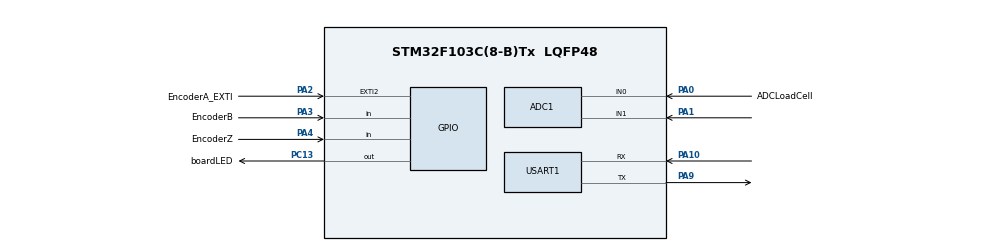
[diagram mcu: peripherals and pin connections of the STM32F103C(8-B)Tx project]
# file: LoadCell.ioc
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ADC1.Channel-0\#ChannelRegularConversion=ADC_CHANNEL_0
ADC1.NbrOfConversionFlag=1
ADC1.Rank-0\#ChannelRegularConversion=1
ADC1.SamplingTime-0\#ChannelRegularConversion=ADC_SAMPLETIME_1CYCLE_5
ADC1.master=1
Mcu.Family=STM32F1
Mcu.Name=STM32F103C(8-B)Tx
Mcu.Package=LQFP48
NVIC.EXTI2_IRQn=true\:0\:0\:false\:true\:true\:2\:true
NVIC.PriorityGroup=NVIC_PRIORITYGROUP_4
NVIC.TIM2_IRQn=true\:0\:0\:false\:true\:true\:3\:true
NVIC.USART1_IRQn=true\:0\:0\:false\:true\:true\:1\:true
PA0-WKUP.GPIO_Label=ADCLoadCell
PA0-WKUP.Signal=ADCx_IN0
PA1.Signal=ADCx_IN1
PA10.Mode=Asynchronous
PA10.Signal=USART1_RX
PA2.GPIO_Label=EncoderA_EXTI
PA2.Signal=GPXTI2
PA3.GPIO_Label=EncoderB
PA3.Signal=GPIO_Input
PA4.GPIO_Label=EncoderZ
PA4.Signal=GPIO_Input
PA9.Mode=Asynchronous
PA9.Signal=USART1_TX
PC13-TAMPER-RTC.GPIO_Label=boardLED
PC13-TAMPER-RTC.Signal=GPIO_Output
ProjectManager.HeapSize=0x200
ProjectManager.StackSize=0x400
ProjectManager.TargetToolchain=MDK-ARM V5
RCC.APB1Freq_Value=8000000
RCC.APB2Freq_Value=8000000
SH.ADCx_IN0.0=ADC1_IN0,IN0
SH.ADCx_IN1.0=ADC1_IN1,IN1
TIM2.Period=500
TIM2.Prescaler=8000
USART1.VirtualMode=VM_ASYNC
VP_SYS_VS_ND.Mode=No_Debug
VP_TIM2_VS_ClockSourceINT.Mode=Internal
board=custom

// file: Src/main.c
/**
  ******************************************************************************
  * @file           : main.c
  * @brief          : Main program body
  ******************************************************************************
  ** This notice applies to any and all portions of this file
  * that are not between comment pairs USER CODE BEGIN and
  * USER CODE END. Other portions of this file, whether
  * inserted by the user or by software development tools
  * are owned by their respective copyright owners.
  *
  * COPYRIGHT(c) 2018 STMicroelectronics
  *
  * Redistribution and use in source and binary forms, with or without modification,
  * are permitted provided that the following conditions are met:
  *   1. Redistributions of source code must retain the above copyright notice,
  *      this list of conditions and the following disclaimer.
  *   2. Redistributions in binary form must reproduce the above copyright notice,
  *      this list of conditions and the following disclaimer in the documentation
  *      and/or other materials provided with the distribution.
  *   3. Neither the name of STMicroelectronics nor the names of its contributors
  *      may be used to endorse or promote products derived from this software
  *      without specific prior written permission.
  *
  * THIS SOFTWARE IS PROVIDED BY THE COPYRIGHT HOLDERS AND CONTRIBUTORS "AS IS"
  * AND ANY EXPRESS OR IMPLIED WARRANTIES, INCLUDING, BUT NOT LIMITED TO, THE
  * IMPLIED WARRANTIES OF MERCHANTABILITY AND FITNESS FOR A PARTICULAR PURPOSE ARE
  * DISCLAIMED. IN NO EVENT SHALL THE COPYRIGHT HOLDER OR CONTRIBUTORS BE LIABLE
  * FOR ANY DIRECT, INDIRECT, INCIDENTAL, SPECIAL, EXEMPLARY, OR CONSEQUENTIAL
  * DAMAGES (INCLUDING, BUT NOT LIMITED TO, PROCUREMENT OF SUBSTITUTE GOODS OR
  * SERVICES; LOSS OF USE, DATA, OR PROFITS; OR BUSINESS INTERRUPTION) HOWEVER
  * CAUSED AND ON ANY THEORY OF LIABILITY, WHETHER IN CONTRACT, STRICT LIABILITY,
  * OR TORT (INCLUDING NEGLIGENCE OR OTHERWISE) ARISING IN ANY WAY OUT OF THE USE
  * OF THIS SOFTWARE, EVEN IF ADVISED OF THE POSSIBILITY OF SUCH DAMAGE.
  *
  ******************************************************************************
  */
#include "main.h"
#include "stm32f1xx_hal.h"

/* USER CODE BEGIN Includes */
#include "stdio.h"
#include "string.h"
/* USER CODE END Includes */

ADC_HandleTypeDef hadc1;

TIM_HandleTypeDef htim2;

UART_HandleTypeDef huart1;

/* USER CODE BEGIN PV */
/* Private variables ---------------------------------------------------------*/
char aTxBuffer[1024];
char aRxBuffer[1024];
int	cnt = 0;
int Uart1_Rx = 0;
int Uart1_Tx = 0;
uint8_t Uart1_Len = 0; //
uint8_t Uart1_Flag = 0; //

/* USER CODE END PV */

void SystemClock_Config(void);
static void MX_GPIO_Init(void);
static void MX_USART1_UART_Init(void);
static void MX_ADC1_Init(void);
static void MX_TIM2_Init(void);
static void MX_NVIC_Init(void);

/* USER CODE BEGIN PFP */
/* Private function prototypes -----------------------------------------------*/

/* USER CODE END PFP */

int main(void)
{

  /* MCU Configuration----------------------------------------------------------*/

  /* Reset of all peripherals, Initializes the Flash interface and the Systick. */
  HAL_Init();

  /* Configure the system clock */
  SystemClock_Config();

  /* Initialize all configured peripherals */
  MX_GPIO_Init();
  MX_USART1_UART_Init();
  MX_ADC1_Init();
  MX_TIM2_Init();

  /* Initialize interrupts */
  MX_NVIC_Init();
  /* USER CODE BEGIN 2 */
	HAL_TIM_Base_Start_IT(&htim2);
//	HAL_UART_Receive_IT(&huart1,(uint8_t *) aRxBuffer, 1);
 	HAL_UART_Receive_IT(&huart1,(uint8_t *) &aRxBuffer[Uart1_Rx],1);

  /* USER CODE END 2 */

  /* Infinite loop */
  /* USER CODE BEGIN WHILE */
  while (1)
  {

if( Uart1_Flag )
{
//        for(int tx1=0;tx1 <= Uart1_Len;tx1++,Uart1_Tx++)
	for(int i=0;i < Uart1_Len;i++,Uart1_Tx++)
	{
	aTxBuffer[i] = aRxBuffer[Uart1_Tx+1];
	}
HAL_UART_Transmit_IT(&huart1,(uint8_t *) aTxBuffer, Uart1_Len);
        Uart1_Rx = 0;
        Uart1_Tx = 0;
        Uart1_Flag = 0;
}
  /* USER CODE END WHILE */

  }

}

void SystemClock_Config(void)
{

  RCC_OscInitTypeDef RCC_OscInitStruct;
  RCC_ClkInitTypeDef RCC_ClkInitStruct;
  RCC_PeriphCLKInitTypeDef PeriphClkInit;

    /**Initializes the CPU, AHB and APB busses clocks
    */
  RCC_OscInitStruct.OscillatorType = RCC_OSCILLATORTYPE_HSI;
  RCC_OscInitStruct.HSIState = RCC_HSI_ON;
  RCC_OscInitStruct.HSICalibrationValue = 16;
  RCC_OscInitStruct.PLL.PLLState = RCC_PLL_NONE;
  if (HAL_RCC_OscConfig(&RCC_OscInitStruct) != HAL_OK)
  {
    _Error_Handler(__FILE__, __LINE__);
  }

    /**Initializes the CPU, AHB and APB busses clocks
    */
  RCC_ClkInitStruct.ClockType = RCC_CLOCKTYPE_HCLK|RCC_CLOCKTYPE_SYSCLK
                              |RCC_CLOCKTYPE_PCLK1|RCC_CLOCKTYPE_PCLK2;
  RCC_ClkInitStruct.SYSCLKSource = RCC_SYSCLKSOURCE_HSI;
  RCC_ClkInitStruct.AHBCLKDivider = RCC_SYSCLK_DIV1;
  RCC_ClkInitStruct.APB1CLKDivider = RCC_HCLK_DIV1;
  RCC_ClkInitStruct.APB2CLKDivider = RCC_HCLK_DIV1;

  if (HAL_RCC_ClockConfig(&RCC_ClkInitStruct, FLASH_LATENCY_0) != HAL_OK)
  {
    _Error_Handler(__FILE__, __LINE__);
  }

  PeriphClkInit.PeriphClockSelection = RCC_PERIPHCLK_ADC;
  PeriphClkInit.AdcClockSelection = RCC_ADCPCLK2_DIV2;
  if (HAL_RCCEx_PeriphCLKConfig(&PeriphClkInit) != HAL_OK)
  {
    _Error_Handler(__FILE__, __LINE__);
  }

    /**Configure the Systick interrupt time
    */
  HAL_SYSTICK_Config(HAL_RCC_GetHCLKFreq()/1000);

    /**Configure the Systick
    */
  HAL_SYSTICK_CLKSourceConfig(SYSTICK_CLKSOURCE_HCLK);

  /* SysTick_IRQn interrupt configuration */
  HAL_NVIC_SetPriority(SysTick_IRQn, 0, 0);
}

/**
  * @brief NVIC Configuration.
  * @retval None
  */
static void MX_NVIC_Init(void)
{
  /* USART1_IRQn interrupt configuration */
  HAL_NVIC_SetPriority(USART1_IRQn, 0, 0);
  HAL_NVIC_EnableIRQ(USART1_IRQn);
  /* EXTI2_IRQn interrupt configuration */
  HAL_NVIC_SetPriority(EXTI2_IRQn, 0, 0);
  HAL_NVIC_EnableIRQ(EXTI2_IRQn);
  /* TIM2_IRQn interrupt configuration */
  HAL_NVIC_SetPriority(TIM2_IRQn, 0, 0);
  HAL_NVIC_EnableIRQ(TIM2_IRQn);
}

/* ADC1 init function */
static void MX_ADC1_Init(void)
{

  ADC_ChannelConfTypeDef sConfig;

    /**Common config
    */
  hadc1.Instance = ADC1;
  hadc1.Init.ScanConvMode = ADC_SCAN_DISABLE;
  hadc1.Init.ContinuousConvMode = DISABLE;
  hadc1.Init.DiscontinuousConvMode = DISABLE;
  hadc1.Init.ExternalTrigConv = ADC_SOFTWARE_START;
  hadc1.Init.DataAlign = ADC_DATAALIGN_RIGHT;
  hadc1.Init.NbrOfConversion = 1;
  if (HAL_ADC_Init(&hadc1) != HAL_OK)
  {
    _Error_Handler(__FILE__, __LINE__);
  }

    /**Configure Regular Channel
    */
  sConfig.Channel = ADC_CHANNEL_0;
  sConfig.Rank = ADC_REGULAR_RANK_1;
  sConfig.SamplingTime = ADC_SAMPLETIME_1CYCLE_5;
  if (HAL_ADC_ConfigChannel(&hadc1, &sConfig) != HAL_OK)
  {
    _Error_Handler(__FILE__, __LINE__);
  }

}

/* TIM2 init function */
static void MX_TIM2_Init(void)
{

  TIM_ClockConfigTypeDef sClockSourceConfig;
  TIM_MasterConfigTypeDef sMasterConfig;

  htim2.Instance = TIM2;
  htim2.Init.Prescaler = 8000;
  htim2.Init.CounterMode = TIM_COUNTERMODE_UP;
  htim2.Init.Period = 500;
  htim2.Init.ClockDivision = TIM_CLOCKDIVISION_DIV1;
  htim2.Init.AutoReloadPreload = TIM_AUTORELOAD_PRELOAD_DISABLE;
  if (HAL_TIM_Base_Init(&htim2) != HAL_OK)
  {
    _Error_Handler(__FILE__, __LINE__);
  }

  sClockSourceConfig.ClockSource = TIM_CLOCKSOURCE_INTERNAL;
  if (HAL_TIM_ConfigClockSource(&htim2, &sClockSourceConfig) != HAL_OK)
  {
    _Error_Handler(__FILE__, __LINE__);
  }

  sMasterConfig.MasterOutputTrigger = TIM_TRGO_RESET;
  sMasterConfig.MasterSlaveMode = TIM_MASTERSLAVEMODE_DISABLE;
  if (HAL_TIMEx_MasterConfigSynchronization(&htim2, &sMasterConfig) != HAL_OK)
  {
    _Error_Handler(__FILE__, __LINE__);
  }

}

/* USART1 init function */
static void MX_USART1_UART_Init(void)
{

  huart1.Instance = USART1;
  huart1.Init.BaudRate = 115200;
  huart1.Init.WordLength = UART_WORDLENGTH_8B;
  huart1.Init.StopBits = UART_STOPBITS_1;
  huart1.Init.Parity = UART_PARITY_NONE;
  huart1.Init.Mode = UART_MODE_TX_RX;
  huart1.Init.HwFlowCtl = UART_HWCONTROL_NONE;
  huart1.Init.OverSampling = UART_OVERSAMPLING_16;
  if (HAL_UART_Init(&huart1) != HAL_OK)
  {
    _Error_Handler(__FILE__, __LINE__);
  }

}

/** Configure pins as
        * Analog
        * Input
        * Output
        * EVENT_OUT
        * EXTI
*/
static void MX_GPIO_Init(void)
{

  GPIO_InitTypeDef GPIO_InitStruct;

  /* GPIO Ports Clock Enable */
  __HAL_RCC_GPIOC_CLK_ENABLE();
  __HAL_RCC_GPIOA_CLK_ENABLE();

  /*Configure GPIO pin Output Level */
  HAL_GPIO_WritePin(boardLED_GPIO_Port, boardLED_Pin, GPIO_PIN_RESET);

  /*Configure GPIO pin : boardLED_Pin */
  GPIO_InitStruct.Pin = boardLED_Pin;
  GPIO_InitStruct.Mode = GPIO_MODE_OUTPUT_PP;
  GPIO_InitStruct.Pull = GPIO_NOPULL;
  GPIO_InitStruct.Speed = GPIO_SPEED_FREQ_LOW;
  HAL_GPIO_Init(boardLED_GPIO_Port, &GPIO_InitStruct);

  /*Configure GPIO pin : EncoderA_EXTI_Pin */
  GPIO_InitStruct.Pin = EncoderA_EXTI_Pin;
  GPIO_InitStruct.Mode = GPIO_MODE_IT_RISING;
  GPIO_InitStruct.Pull = GPIO_NOPULL;
  HAL_GPIO_Init(EncoderA_EXTI_GPIO_Port, &GPIO_InitStruct);

  /*Configure GPIO pins : EncoderB_Pin EncoderZ_Pin */
  GPIO_InitStruct.Pin = EncoderB_Pin|EncoderZ_Pin;
  GPIO_InitStruct.Mode = GPIO_MODE_INPUT;
  GPIO_InitStruct.Pull = GPIO_NOPULL;
  HAL_GPIO_Init(GPIOA, &GPIO_InitStruct);

}

/* USER CODE BEGIN 4 */
void HAL_TIM_PeriodElapsedCallback(TIM_HandleTypeDef *htim)
{
	HAL_GPIO_TogglePin(boardLED_GPIO_Port, boardLED_Pin);
//	sprintf(aTxBuffer,"STM32CubeMX rocks %d times \t", cnt);
//	HAL_UART_Transmit_IT(&huart1,(uint8_t *) aTxBuffer, strlen(aTxBuffer));
}

void HAL_UART_TxCpltCallback(UART_HandleTypeDef *huart)
{
	++cnt;
}

void HAL_UART_RxCpltCallback(UART_HandleTypeDef *huart)
{

        Uart1_Rx++;
        Uart1_Rx &= 0xFF;
	     if(aRxBuffer[Uart1_Rx-1] == 0x5A) //
        Uart1_Tx = Uart1_Rx-1;
//     if((aRxBuffer[Uart1_Tx] == (char)0x5A)&&(aRxBuffer[Uart1_Rx-1] == (char)0xA5)) //
     if((aRxBuffer[Uart1_Tx] == (char)0x5A)&&(aRxBuffer[Uart1_Rx-1] == (char)0xA5)) //
     {
            Uart1_Len = Uart1_Rx-1- Uart1_Tx; //
            Uart1_Flag=1; //
     }
 	HAL_UART_Receive_IT(&huart1,(uint8_t *) &aRxBuffer[Uart1_Rx],1);

//	sprintf(aTxBuffer,"STM32CubeMX rocks %d times \t", cnt);
//	HAL_UART_Transmit_IT(&huart1,(uint8_t *) aRxBuffer, strlen(aRxBuffer));
//	HAL_UART_Receive_IT(&huart1,(uint8_t *) aRxBuffer, strlen(aRxBuffer));

}

/* USER CODE END 4 */

void _Error_Handler(char *file, int line)
{
  while(1)
  {
  }
}

/************************ (C) COPYRIGHT STMicroelectronics *****END OF FILE****/
